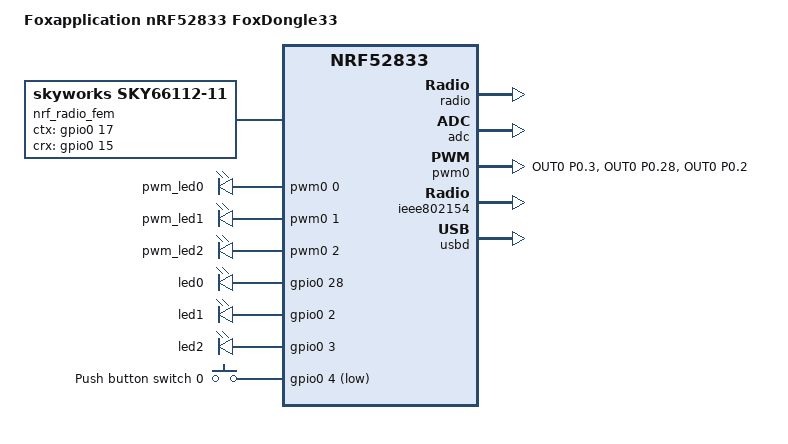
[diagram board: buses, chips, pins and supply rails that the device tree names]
// Copyright (c) 2024 Nordic Semiconductor ASA
// SPDX-License-Identifier: Apache-2.0

/dts-v1/;
#include <nordic/nrf52833_qiaa.dtsi>
#include <zephyr/dt-bindings/input/input-event-codes.h>

&pinctrl {
	pwm0_default: pwm0_default {
		group1 {
			psels = <NRF_PSEL(PWM_OUT0, 0, 3)>,<NRF_PSEL(PWM_OUT0, 0, 28)>,<NRF_PSEL(PWM_OUT0, 0, 2)>;
			nordic,drive-mode = <NRF_DRIVE_D0S1>;
			nordic,invert;
		};
	};

	pwm0_sleep: pwm0_sleep {
		group1 {
			psels = <NRF_PSEL(PWM_OUT0, 0, 3)>,<NRF_PSEL(PWM_OUT0, 0, 28)>,<NRF_PSEL(PWM_OUT0, 0, 2)>;
			low-power-enable;
		};
	};
};

/ {
	model = "Foxapplication nRF52833 FoxDongle33";
	compatible = "foxdongle33_uf2";

	chosen {
		zephyr,console = &cdc_acm_uart;
		zephyr,shell-uart = &cdc_acm_uart;
		zephyr,uart-mcumgr = &cdc_acm_uart;
		zephyr,bt-mon-uart = &cdc_acm_uart;
		zephyr,bt-c2h-uart = &cdc_acm_uart;
		zephyr,sram = &sram0;
		zephyr,flash = &flash0;
		zephyr,ieee802154 = &ieee802154;
	};

	nrf_radio_fem: skyFem {
		compatible = "skyworks,sky66112-11", "generic-fem-two-ctrl-pins";
		ctx-gpios = <&gpio0 17 GPIO_ACTIVE_HIGH>;
		ctx-settle-time-us = <23>;
		crx-gpios = <&gpio0 15 GPIO_ACTIVE_HIGH>;
		crx-settle-time-us = <8>;
		tx-gain-db = <22>;
		rx-gain-db = <12>;
	};

	pwmleds {
		compatible = "pwm-leds";
		pwm_led0: pwm_led_0 {
			pwms = <&pwm0 0 PWM_MSEC(1) PWM_POLARITY_NORMAL>;
		};
		pwm_led1: pwm_led_1 {
			pwms = <&pwm0 1 PWM_MSEC(1) PWM_POLARITY_NORMAL>;
		};
		pwm_led2: pwm_led_2 {
			pwms = <&pwm0 2 PWM_MSEC(1) PWM_POLARITY_NORMAL>;
		};
	};
	leds {
		compatible = "gpio-leds";
		led0: led_0 {
			gpios = <&gpio0 28 GPIO_OPEN_SOURCE>;
		};
		led1: led_1 {
			gpios = <&gpio0 2 GPIO_OPEN_SOURCE>;
		};
		led2: led_2 {
			gpios = <&gpio0 3 GPIO_OPEN_SOURCE>;
		};
	};

	buttons {
		compatible = "gpio-keys";
		button0: button_0 {
			gpios = <&gpio0 4 (GPIO_PULL_UP | GPIO_ACTIVE_LOW)>;
			label = "Push button switch 0";
			zephyr,code = <INPUT_KEY_0>;
		};
	};

	aliases {
		sw0 = &button0;
		pwm-led0 = &pwm_led0;
		pwm-led1 = &pwm_led1;
		pwm-led2 = &pwm_led2;
		led0 = &led0;
		led1 = &led1;
		led2 = &led2;
		watchdog0 = &wdt0;
	};
};

&reg0 {
	status = "disabled";
};

&reg1 {
	regulator-initial-mode = <NRF5X_REG_MODE_LDO>;
};

&radio {
	fem = <&nrf_radio_fem>;
};

&adc {
	status = "okay";
};

&gpio0 {
	status = "okay";
};

&gpio1 {
	status = "okay";
};

&gpiote {
	status = "okay";
};

&uicr {
	nfct-pins-as-gpios;
	gpio-as-nreset;
};

&pwm0 {
	status = "okay";
	pinctrl-0 = <&pwm0_default>;
	pinctrl-1 = <&pwm0_sleep>;
	pinctrl-names = "default", "sleep";
};

&ieee802154 {
	status = "okay";
};

zephyr_udc0: &usbd {
	compatible = "nordic,nrf-usbd";
	status = "okay";
	cdc_acm_uart: cdc_acm_uart {
		compatible = "zephyr,cdc-acm-uart";
	};
};

&nfct {
	status = "disabled";
};
